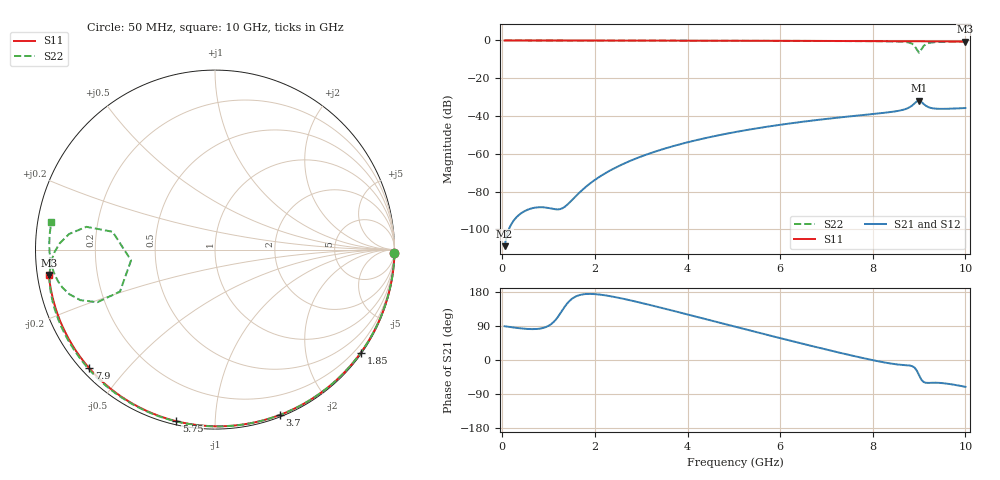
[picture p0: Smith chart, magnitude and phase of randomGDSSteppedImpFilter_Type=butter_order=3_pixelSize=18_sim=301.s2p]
! freq	dB(S11)	phase(S11)	dB(S12)	phase(S12)
!  dB(S21)	phase(S21)	dB(S22)	phase(S22)
!S-par simulation data
#  GHz  S  DB  R 50
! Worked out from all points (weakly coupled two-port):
!   200 points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, 50 MHz to 10 GHz, reference 50 ohm
!   highest |S21| = -31.85 dB at 9 GHz (marker M1); lowest = -108.8 dB at 50 MHz (marker M2)
!   lowest |S11| = -0.6 dB at 10 GHz (marker M3), VSWR 30.48, Z = 1.65 - j3.79 ohm
!   |S11| at or under -10 dB: nowhere
!   |S22| runs from -6.5 to 0.0 dB; largest |S21 - S12| = 0
!   S11 on the Smith chart (normalised r, x): 50 MHz: open; 1.85 GHz: 0.03, -3.15; 3.7 GHz: 0.02, -1.47; 5.75 GHz: 0.02, -0.80; 7.9 GHz: 0.02, -0.40; 10 GHz: 0.03, -0.08
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0.05  -0.00 -1.0  -108.84 89.1  -108.84 89.1  -0.00 -1.1
0.8  -0.02 -15.4  -88.23 82.6  -88.23 82.6  -0.02 -17.1
1.65  -0.04 -31.5  -80.86 170.7  -80.86 170.7  -0.04 -35.0
1.75  -0.04 -33.4  -78.60 173.4  -78.60 173.4  -0.05 -37.0
1.85  -0.04 -35.2  -76.53 174.4  -76.53 174.4  -0.05 -39.1
2.5  -0.06 -47.2  -66.63 164.4  -66.63 164.4  -0.07 -52.3
3.4  -0.08 -63.3  -58.02 138.8  -58.02 138.8  -0.09 -70.1
3.7  -0.09 -68.5  -55.84 129.6  -55.84 129.6  -0.10 -75.9
5.05  -0.14 -91.3  -48.37 87.2  -48.37 87.2  -0.16 -101.3
5.75  -0.17 -102.7  -45.52 65.4  -45.52 65.4  -0.19 -114.0
6.7  -0.23 -117.8  -42.36 36.5  -42.36 36.5  -0.26 -131.4
7.9  -0.33 -136.7  -39.17 2.1  -39.17 2.1  -0.38 -154.4
8.35  -0.37 -143.9  -37.98 -8.6  -37.98 -8.6  -0.48 -164.7
8.8  -0.42 -151.1  -35.27 -14.6  -35.27 -14.6  -1.25 177.7
8.9  -0.43 -152.8  -33.37 -19.8  -33.37 -19.8  -2.76 170.0
8.95  -0.43 -153.6  -32.28 -27.7  -32.28 -27.7  -4.75 170.1
9  -0.44 -154.4  -31.85 -40.4  -31.85 -40.4  -6.53 -172.7
9.05  -0.45 -155.2  -32.52 -52.0  -32.52 -52.0  -4.75 -156.2
9.1  -0.45 -156.0  -33.66 -58.2  -33.66 -58.2  -2.88 -155.9
9.2  -0.46 -157.7  -35.27 -60.4  -35.27 -60.4  -1.43 -163.0
9.3  -0.48 -159.4  -35.92 -60.0  -35.92 -60.0  -0.99 -168.5
10  -0.57 -171.3  -35.76 -70.8  -35.76 -70.8  -0.68 170.4
